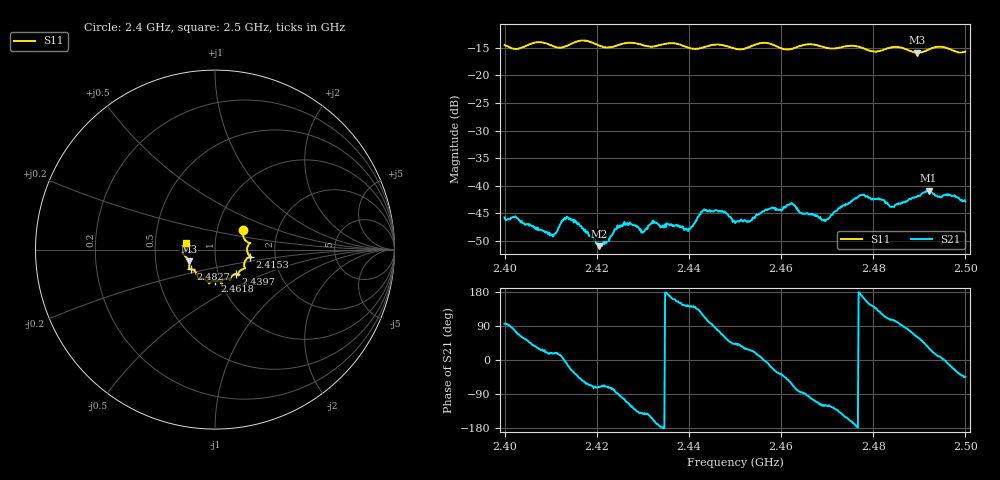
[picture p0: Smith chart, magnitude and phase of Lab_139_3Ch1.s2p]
# Hz S RI R 50
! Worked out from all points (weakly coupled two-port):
!   601 points, 2.4 GHz to 2.5 GHz, reference 50 ohm
!   highest |S21| = -40.92 dB at 2.492 GHz (marker M1); lowest = -51.0 dB at 2.4205 GHz (marker M2)
!   lowest |S11| = -15.9 dB at 2.4895 GHz (marker M3), VSWR 1.38, Z = 37 - j5.02 ohm
!   |S11| at or under -10 dB: start of sweep to end of sweep
!   S12 and S22 are empty: the file has one direction only
!   S11 on the Smith chart (normalised r, x): 2.4 GHz: 1.33, +0.30; 2.4153 GHz: 1.48, -0.12; 2.4397 GHz: 1.21, -0.34; 2.4618 GHz: 0.94, -0.33; 2.4827 GHz: 0.75, -0.17; 2.5 GHz: 0.72, +0.06
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2.4e9  0.1554 0.1069  -0.000504 0.00514  0 0  0 0
2.410333e9  0.184 0.023  0.00342 0.00108  0 0  0 0
2.413167e9  0.1819 -0.0171  0.00494 -0.000289  0 0  0 0
2.415333e9  0.1967 -0.0394  0.00376 -0.00281  0 0  0 0
2.416667e9  0.2024 -0.0438  0.00267 -0.00335  0 0  0 0
2.4205e9  0.1796 -0.0493  0.000883 -0.00269  0 0  0 0
2.426167e9  0.1674 -0.1017  -0.00126 -0.00422  0 0  0 0
2.429833e9  0.1546 -0.1092  -0.00294 -0.00248  0 0  0 0
2.433333e9  0.1301 -0.1338  -0.00443 -0.000697  0 0  0 0
2.439667e9  0.1169 -0.1362  -0.00321 0.00229  0 0  0 0
2.443333e9  0.0873 -0.1579  -0.00243 0.0056  0 0  0 0
2.45e9  0.0649 -0.1622  0.00342 0.00306  0 0  0 0
2.456333e9  0.0386 -0.1936  0.00585 -0.000106  0 0  0 0
2.461833e9  -0.00271 -0.1724  0.00369 -0.00563  0 0  0 0
2.466667e9  -0.0343 -0.1882  -0.00125 -0.00543  0 0  0 0
2.47e9  -0.0477 -0.1706  -0.00257 -0.00424  0 0  0 0
2.4775e9  -0.098 -0.1489  -0.0081 0.00154  0 0  0 0
2.482667e9  -0.1348 -0.1085  -0.0028 0.00632  0 0  0 0
2.483333e9  -0.1401 -0.1082  -0.00216 0.00635  0 0  0 0
2.4895e9  -0.146 -0.0662  0.00378 0.00699  0 0  0 0
2.492e9  -0.1679 -0.0343  0.0076 0.00482  0 0  0 0
2.5e9  -0.1596 0.0388  0.00515 -0.00504  0 0  0 0
